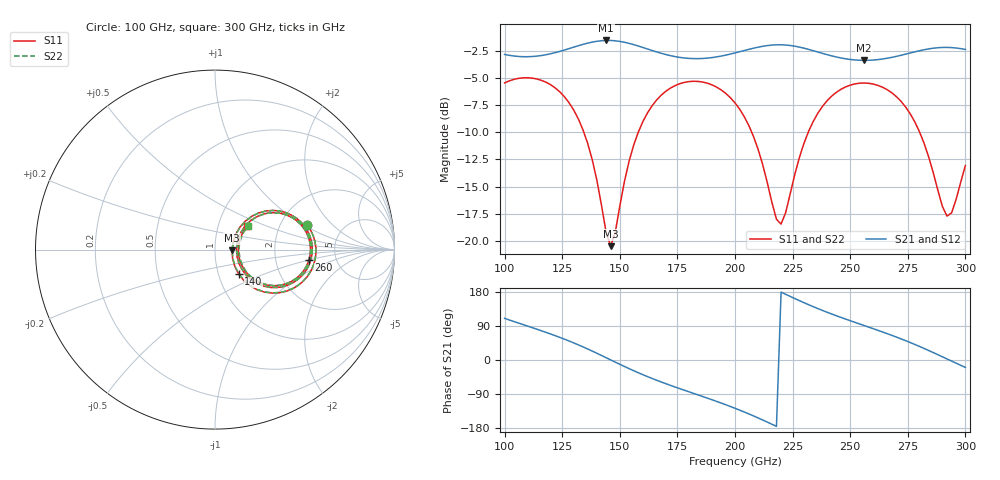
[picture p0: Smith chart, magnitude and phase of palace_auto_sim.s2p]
#  GHZ S DB R 50
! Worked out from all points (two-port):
!   101 points, 100 GHz to 300 GHz, reference 50 ohm
!   highest |S21| = -1.57 dB at 144 GHz (marker M1); lowest = -3.4 dB at 256 GHz (marker M2)
!   |S21| within 3 dB of the highest: start of sweep to end of sweep
!   lowest |S11| = -20.5 dB at 146 GHz (marker M3), VSWR 1.21, Z = 60.5 - j0.481 ohm
!   |S11| at or under -10 dB: 134.4 GHz to 158 GHz (23.62 GHz wide, 16.2 % of centre); 207.3 GHz to 231.8 GHz (24.55 GHz wide, 11.2 % of centre); 280.2 GHz to end of sweep
!   |S22| runs from -20.3 to -5.0 dB; largest |S21 - S12| = 1.2e-13
!   S11 on the Smith chart (normalised r, x): 100 GHz: 2.83, +1.07; 140 GHz: 1.25, -0.36; 260 GHz: 3.13, -0.52; 300 GHz: 1.38, +0.38
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100  -5.47 14.7  -2.86 109.9  -2.86 109.9  -5.48 14.9
116  -5.23 -12.7  -2.95 77.1  -2.95 77.1  -5.24 -12.5
126  -6.75 -30.3  -2.45 54.9  -2.45 54.9  -6.75 -30.1
134  -9.77 -43.5  -1.93 34.7  -1.93 34.7  -9.77 -43.2
140  -14.36 -46.0  -1.65 17.9  -1.65 17.9  -14.35 -45.5
144  -19.12 -27.4  -1.57 6.2  -1.57 6.2  -19.03 -26.7
146  -20.46 -2.4  -1.57 0.4  -1.57 0.4  -20.32 -2.0
156  -11.20 42.2  -1.95 -28.2  -1.95 -28.2  -11.18 42.0
168  -6.59 24.2  -2.75 -58.0  -2.75 -58.0  -6.58 24.1
184  -5.33 -2.7  -3.24 -92.2  -3.24 -92.2  -5.33 -2.6
200  -7.30 -28.6  -2.71 -127.4  -2.71 -127.4  -7.30 -28.5
212  -12.96 -39.5  -2.11 -158.3  -2.11 -158.3  -12.94 -39.0
218  -17.99 -15.3  -1.97 -175.2  -1.97 -175.2  -17.88 -14.8
220  -18.43 4.1  -1.97 179.1  -1.97 179.1  -18.29 4.2
234  -8.99 34.8  -2.51 140.6  -2.51 140.6  -8.97 34.6
244  -6.33 19.6  -3.09 116.8  -3.09 116.8  -6.32 19.4
256  -5.48 -0.0  -3.40 91.1  -3.40 91.1  -5.47 -0.0
260  -5.57 -6.5  -3.37 82.6  -3.37 82.6  -5.57 -6.5
268  -6.37 -19.4  -3.12 65.2  -3.12 65.2  -6.36 -19.3
280  -9.92 -36.1  -2.52 36.0  -2.52 36.0  -9.89 -35.7
292  -17.70 -4.9  -2.21 2.8  -2.21 2.8  -17.45 -4.7
300  -13.05 36.0  -2.40 -19.5  -2.40 -19.5  -12.95 35.1
